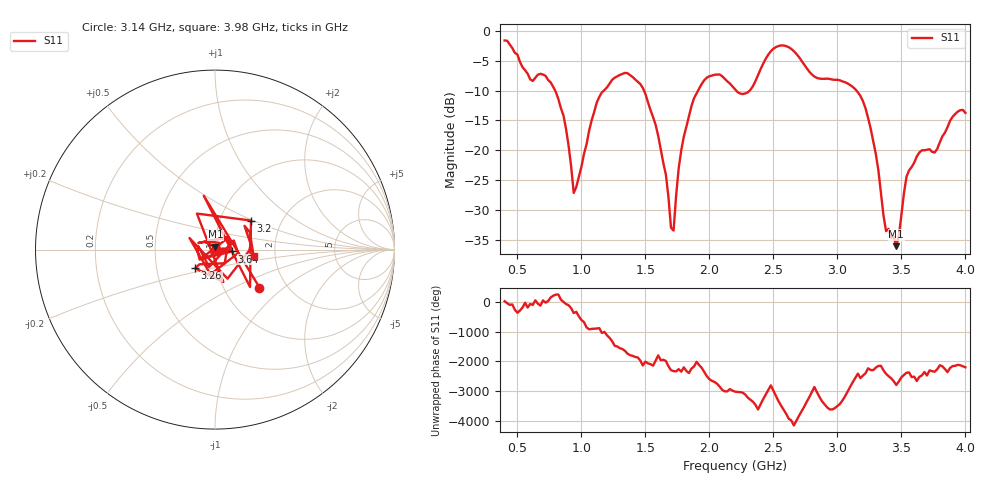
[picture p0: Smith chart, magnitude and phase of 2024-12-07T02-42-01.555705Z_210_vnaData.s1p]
!Created with skrf (http://scikit-rf.org).
# Hz S RI R 50.0
!freq ReS11 ImS11
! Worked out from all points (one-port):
!   181 points, 400 MHz to 4 GHz, reference 50 ohm
!   lowest |S11| = -36.1 dB at 3.46 GHz (marker M1), VSWR 1.03, Z = 50.2 + j1.55 ohm
!   |S11| at or under -10 dB: 795.2 MHz to 1.175 GHz (379.4 MHz wide, 38.5 % of centre); 1.489 GHz to 1.911 GHz (421.5 MHz wide, 24.8 % of centre); 3.15 GHz to end of sweep (the widest 3 of 4)
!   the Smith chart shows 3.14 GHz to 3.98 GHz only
!   S11 on the Smith chart (normalised r, x): 3.14 GHz: 1.46, -0.69; 3.2 GHz: 1.40, +0.49; 3.26 GHz: 0.79, -0.17; 3.64 GHz: 1.21, -0.02; 3.98 GHz: 1.54, -0.12
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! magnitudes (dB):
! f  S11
! 400 MHz  -1.6
! 600 MHz  -8.1
! 720 MHz  -7.5
! 860 MHz  -14.2
! 940 MHz  -27.2
! 1.12 GHz  -12.0
! 1.3 GHz  -7.4
! 1.5 GHz  -10.5
! 1.66 GHz  -24.1
! 1.7 GHz  -33.0
! 1.72 GHz  -33.5
! 1.76 GHz  -23.0
! 1.86 GHz  -12.6
! 1.96 GHz  -8.2
! 2.2 GHz  -9.8
! 2.32 GHz  -9.9
! 2.52 GHz  -2.7
! 2.66 GHz  -3.4
! 3.1 GHz  -9.1
! 3.14 GHz  -9.7
! 3.2 GHz  -11.8
! 3.26 GHz  -16.4
! 3.38 GHz  -33.6
! 3.46 GHz  -36.1
! 3.56 GHz  -23.4
! 3.64 GHz  -20.4
! 3.98 GHz  -13.2
! 4 GHz  -13.7
